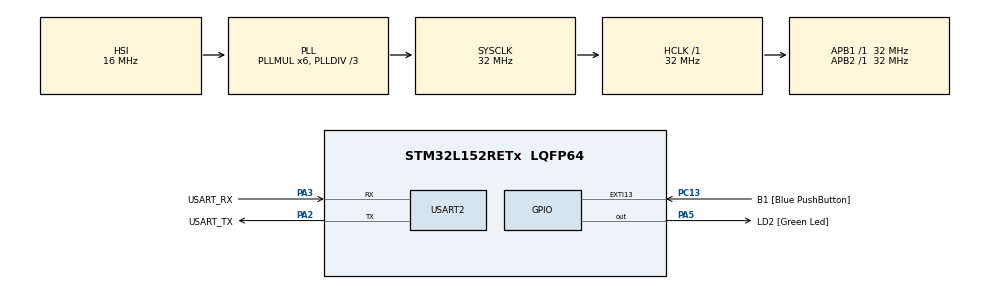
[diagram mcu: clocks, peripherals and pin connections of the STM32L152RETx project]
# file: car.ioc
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Mcu.Family=STM32L1
Mcu.Name=STM32L152RETx
Mcu.Package=LQFP64
NVIC.PriorityGroup=NVIC_PRIORITYGROUP_0
NVIC.USART2_IRQn=true\:0\:0\:false\:false\:true\:true\:true\:true
PA13.GPIO_Label=TMS
PA13.Mode=Serial_Wire
PA13.Signal=SYS_JTMS-SWDIO
PA14.GPIO_Label=TCK
PA14.Mode=Serial_Wire
PA14.Signal=SYS_JTCK-SWCLK
PA2.GPIO_Label=USART_TX
PA2.Mode=Asynchronous
PA2.Signal=USART2_TX
PA3.GPIO_Label=USART_RX
PA3.Mode=Asynchronous
PA3.Signal=USART2_RX
PA5.GPIO_Label=LD2 [Green Led]
PA5.Signal=GPIO_Output
PB3.GPIO_Label=SWO
PB3.Signal=SYS_JTDO-TRACESWO
PC13-WKUP2.GPIO_Label=B1 [Blue PushButton]
PC13-WKUP2.Signal=GPXTI13
PC14-OSC32_IN.Mode=LSE-External-Oscillator
PC14-OSC32_IN.Signal=RCC_OSC32_IN
PC15-OSC32_OUT.Mode=LSE-External-Oscillator
PC15-OSC32_OUT.Signal=RCC_OSC32_OUT
PH0-OSC_IN.Mode=HSE-External-Clock-Source
PH0-OSC_IN.Signal=RCC_OSC_IN
PH1-OSC_OUT.Signal=RCC_OSC_OUT
ProjectManager.HeapSize=0x200
ProjectManager.StackSize=0x400
ProjectManager.TargetToolchain=STM32CubeIDE
RCC.48MHZClocksFreq_Value=48000000
RCC.AHBFreq_Value=32000000
RCC.APB1Freq_Value=32000000
RCC.APB1TimFreq_Value=32000000
RCC.APB2Freq_Value=32000000
RCC.APB2TimFreq_Value=32000000
RCC.HCLKFreq_Value=32000000
RCC.HSE_VALUE=8000000
RCC.HSI_VALUE=16000000
RCC.MSI_VALUE=2097000
RCC.PLLDIV=RCC_PLL_DIV3
RCC.PLLMUL=RCC_PLL_MUL6
RCC.RTCClockSelectionVirtual=RCC_RTCCLKSOURCE_LSE
RCC.SYSCLKFreq_VALUE=32000000
RCC.SYSCLKSource=RCC_SYSCLKSOURCE_PLLCLK
RCC.USBOutput=48000000
RCC.VCOOutputFreq_Value=96000000
USART2.VirtualMode=VM_ASYNC
board=NUCLEO-L152RE

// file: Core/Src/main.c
/* USER CODE BEGIN Header */
/**
  ******************************************************************************
  * @file           : main.c
  * @brief          : Main program body
  ******************************************************************************
  * @attention
  *
  * Copyright (c) 2024 STMicroelectronics.
  * All rights reserved.
  *
  * This software is licensed under terms that can be found in the LICENSE file
  * in the root directory of this software component.
  * If no LICENSE file comes with this software, it is provided AS-IS.
  *
  ******************************************************************************
  */
/* USER CODE END Header */
#include "main.h"
#include "usart.h"
#include "gpio.h"

/* USER CODE BEGIN Includes */
//#include "ring_buffer.h"
#include "parser_complex.h"
#include "stdio.h"
#include "string.h"

/* USER CODE END Includes */

/* USER CODE BEGIN PV */
uint8_t znak;

extern char rx_buffer[100];
extern char parsed_velocity[10];
extern char parsed_direction[10];
extern char parsed_turn[10];
/* USER CODE END PV */

void SystemClock_Config(void);

int main(void)
{

  /* MCU Configuration--------------------------------------------------------*/

  /* Reset of all peripherals, Initializes the Flash interface and the Systick. */
  HAL_Init();

  /* Configure the system clock */
  SystemClock_Config();

  /* Initialize all configured peripherals */
  MX_GPIO_Init();
  MX_USART2_UART_Init();
  /* USER CODE BEGIN 2 */
  HAL_UART_Receive_IT(&huart2, (uint8_t *)rx_buffer, sizeof(rx_buffer));

  /* USER CODE END 2 */

  /* Infinite loop */
  while (1)
  {

  }
}

void SystemClock_Config(void)
{
  RCC_OscInitTypeDef RCC_OscInitStruct = {0};
  RCC_ClkInitTypeDef RCC_ClkInitStruct = {0};

  /** Configure the main internal regulator output voltage
  */
  __HAL_PWR_VOLTAGESCALING_CONFIG(PWR_REGULATOR_VOLTAGE_SCALE1);

  /** Initializes the RCC Oscillators according to the specified parameters
  * in the RCC_OscInitTypeDef structure.
  */
  RCC_OscInitStruct.OscillatorType = RCC_OSCILLATORTYPE_HSI;
  RCC_OscInitStruct.HSIState = RCC_HSI_ON;
  RCC_OscInitStruct.HSICalibrationValue = RCC_HSICALIBRATION_DEFAULT;
  RCC_OscInitStruct.PLL.PLLState = RCC_PLL_ON;
  RCC_OscInitStruct.PLL.PLLSource = RCC_PLLSOURCE_HSI;
  RCC_OscInitStruct.PLL.PLLMUL = RCC_PLL_MUL6;
  RCC_OscInitStruct.PLL.PLLDIV = RCC_PLL_DIV3;
  if (HAL_RCC_OscConfig(&RCC_OscInitStruct) != HAL_OK)
  {
    Error_Handler();
  }

  /** Initializes the CPU, AHB and APB buses clocks
  */
  RCC_ClkInitStruct.ClockType = RCC_CLOCKTYPE_HCLK|RCC_CLOCKTYPE_SYSCLK
                              |RCC_CLOCKTYPE_PCLK1|RCC_CLOCKTYPE_PCLK2;
  RCC_ClkInitStruct.SYSCLKSource = RCC_SYSCLKSOURCE_PLLCLK;
  RCC_ClkInitStruct.AHBCLKDivider = RCC_SYSCLK_DIV1;
  RCC_ClkInitStruct.APB1CLKDivider = RCC_HCLK_DIV1;
  RCC_ClkInitStruct.APB2CLKDivider = RCC_HCLK_DIV1;

  if (HAL_RCC_ClockConfig(&RCC_ClkInitStruct, FLASH_LATENCY_1) != HAL_OK)
  {
    Error_Handler();
  }
}

/* USER CODE BEGIN 4 */
void HAL_UART_RxCpltCallback(UART_HandleTypeDef *huart)
{
	if(huart->Instance == USART2)
		{
		  HAL_UART_Receive_IT(&huart2, (uint8_t *)rx_buffer, sizeof(rx_buffer));

			parse_data(rx_buffer);
			HAL_UART_Receive_IT(&huart2, (uint8_t *)rx_buffer, sizeof(rx_buffer));

			if(znak== 'e')
			{
				HAL_GPIO_TogglePin(LD2_GPIO_Port, LD2_Pin);
			}

		}

}
/* USER CODE END 4 */

void Error_Handler(void)
{
  __disable_irq();
  while (1)
  {
  }
}
